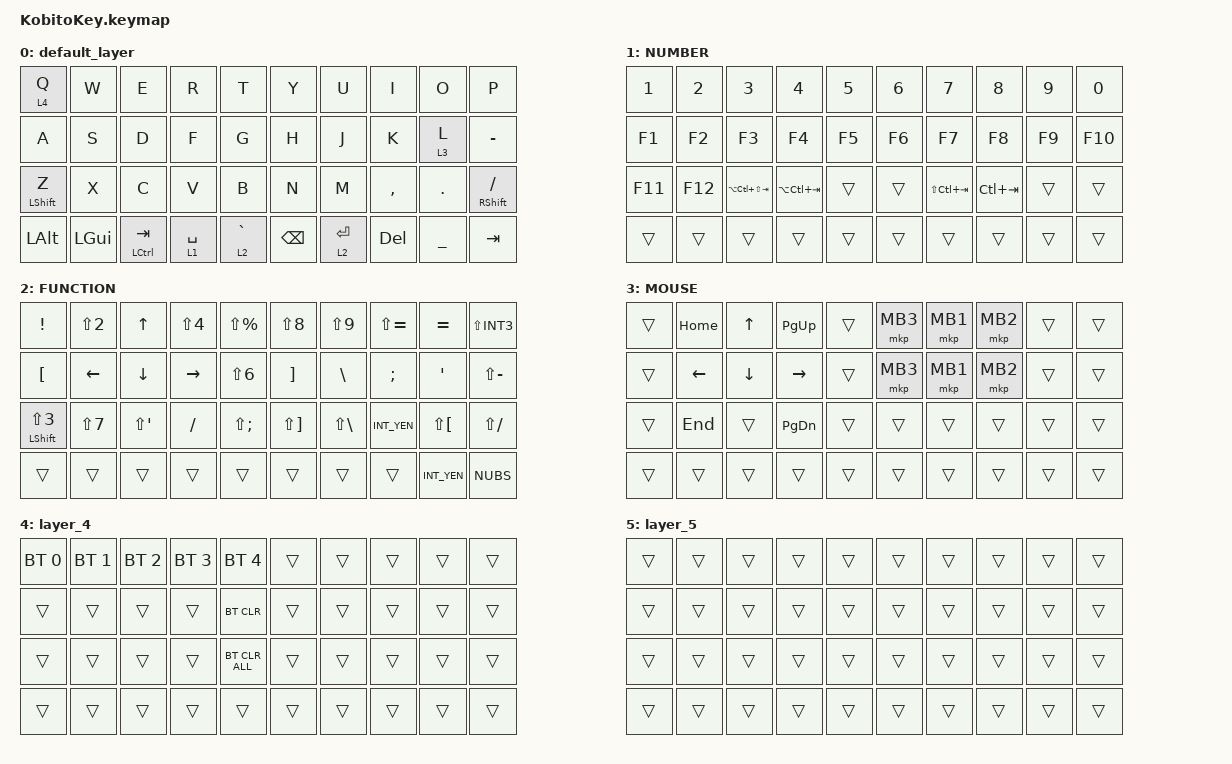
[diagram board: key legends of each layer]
#include <input/processors.dtsi>
#include <behaviors.dtsi>
#include <dt-bindings/zmk/bt.h>
#include <dt-bindings/zmk/keys.h>
#include <dt-bindings/zmk/pointing.h>

/ {
    combos {
        compatible = "zmk,combos";

        combo_eisu {
            timeout-ms = <50>;
            key-positions = <12 13>;
            bindings = <&kp LANG2>;
        };

        combo_kana {
            timeout-ms = <50>;
            key-positions = <17 16>;
            bindings = <&kp LANG1>;
        };

        combo_esc {
            timeout-ms = <50>;
            key-positions = <0 1>;
            bindings = <&kp ESC>;
        };

        combo_tab {
            timeout-ms = <50>;
            key-positions = <10 11>;
            bindings = <&kp TAB>;
        };

        shifttab {
            bindings = <&kp LS(TAB)>;
            key-positions = <11 12>;
        };

        equal {
            bindings = <&kp LS(MINUS)>;
            key-positions = <8 9>;
        };

        exclamation {
            bindings = <&kp EXCL>;
            key-positions = <5 6>;
        };

        hatena {
            bindings = <&kp QUESTION>;
            key-positions = <29 28>;
        };

        double {
            bindings = <&kp LS(N2)>;
            key-positions = <8 7>;
        };
    };

    keymap {
        compatible = "zmk,keymap";

        default_layer {
            bindings = <
&lt 4 Q           &kp W         &kp E                 &kp R        &kp T        &kp Y     &kp U        &kp I       &kp O      &kp P
&kp A             &kp S         &kp D                 &kp F        &kp G        &kp H     &kp J        &kp K       &lt 3 L    &kp MINUS
&mt LEFT_SHIFT Z  &kp X         &kp C                 &kp V        &kp B        &kp N     &kp M        &kp COMMA   &kp DOT    &mt RIGHT_SHIFT SLASH
&kp LEFT_ALT      &kp LEFT_GUI  &mt LEFT_CONTROL TAB  &lt 1 SPACE  &lt 2 GRAVE  &kp BSPC  &lt 2 ENTER  &kp DELETE  &kp UNDER  &kp TAB
            >;
        };

        layer1 {
            label = "NUMBER";
            bindings = <
&kp NUMBER_1  &kp NUMBER_2  &kp NUMBER_3         &kp NUMBER_4     &kp N5  &kp NUMBER_6  &kp N7           &kp N8       &kp N9  &kp N0
&kp F1        &kp F2        &kp F3               &kp F4           &kp F5  &kp F6        &kp F7           &kp F8       &kp F9  &kp F10
&kp F11       &kp F12       &kp LA(LC(LS(TAB)))  &kp LA(LC(TAB))  &trans  &trans        &kp LS(LC(TAB))  &kp LC(TAB)  &trans  &trans
&trans        &trans        &trans               &trans           &trans  &trans        &trans           &trans       &trans  &trans
            >;
        };

        layer2 {
            label = "FUNCTION";
            bindings = <
&kp EXCL                     &kp LS(NUMBER_2)  &kp UP_ARROW          &kp LS(NUMBER_4)  &kp LS(PERCENT)   &kp LS(N8)             &kp LS(N9)         &kp LS(EQUAL)  &kp EQUAL             &kp LS(INT3)
&kp LEFT_BRACKET             &kp LEFT_ARROW    &kp DOWN              &kp RIGHT_ARROW   &kp LS(NUMBER_6)  &kp RIGHT_BRACKET      &kp BACKSLASH      &kp SEMI       &kp SINGLE_QUOTE      &kp LS(MINUS)
&mt LEFT_SHIFT LS(NUMBER_3)  &kp LS(N7)        &kp LS(SINGLE_QUOTE)  &kp SLASH         &kp LS(SEMI)      &kp LS(RIGHT_BRACKET)  &kp LS(BACKSLASH)  &kp INT_YEN    &kp LS(LEFT_BRACKET)  &kp LS(SLASH)
&trans                       &trans            &trans                &trans            &trans            &trans                 &trans             &trans         &kp INT_YEN           &kp NUBS
            >;
        };

        layer3 {
            label = "MOUSE";
            bindings = <
&trans  &kp HOME        &kp UP_ARROW    &kp PAGE_UP      &trans  &mkp MB3  &mkp MB1  &mkp MB2  &trans  &trans
&trans  &kp LEFT_ARROW  &kp DOWN_ARROW  &kp RIGHT_ARROW  &trans  &mkp MB3  &mkp MB1  &mkp MB2  &trans  &trans
&trans  &kp END         &trans          &kp PAGE_DOWN    &trans  &trans    &trans    &trans    &trans  &trans
&trans  &trans          &trans          &trans           &trans  &trans    &trans    &trans    &trans  &trans
            >;
        };

        layer_4 {
            bindings = <
&bt BT_SEL 0  &bt BT_SEL 1  &bt BT_SEL 2  &bt BT_SEL 3  &bt BT_SEL 4    &trans  &trans  &trans  &trans  &trans
&trans        &trans        &trans        &trans        &bt BT_CLR      &trans  &trans  &trans  &trans  &trans
&trans        &trans        &trans        &trans        &bt BT_CLR_ALL  &trans  &trans  &trans  &trans  &trans
&trans        &trans        &trans        &trans        &trans          &trans  &trans  &trans  &trans  &trans
            >;
        };

        layer_5 {
            bindings = <
&trans  &trans  &trans  &trans  &trans  &trans  &trans  &trans  &trans  &trans
&trans  &trans  &trans  &trans  &trans  &trans  &trans  &trans  &trans  &trans
&trans  &trans  &trans  &trans  &trans  &trans  &trans  &trans  &trans  &trans
&trans  &trans  &trans  &trans  &trans  &trans  &trans  &trans  &trans  &trans
            >;
        };
    };
};
